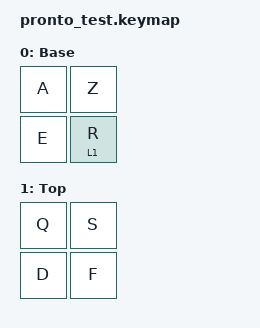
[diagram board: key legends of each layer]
#include <behaviors.dtsi>
#include <dt-bindings/zmk/keys.h>

/ {
    keymap {
        compatible = "zmk,keymap";

        default_layer { // Layer 0
            display-name = "Base";
            bindings = <
                &kp A    &kp Z
                &kp E    &lt 1 R
            >;
        };

        top_layer { // Layer 1
            display-name = "Top";
            bindings = <
                &kp Q  &kp S
                &kp D    &kp F
            >;
        };
    };
};
